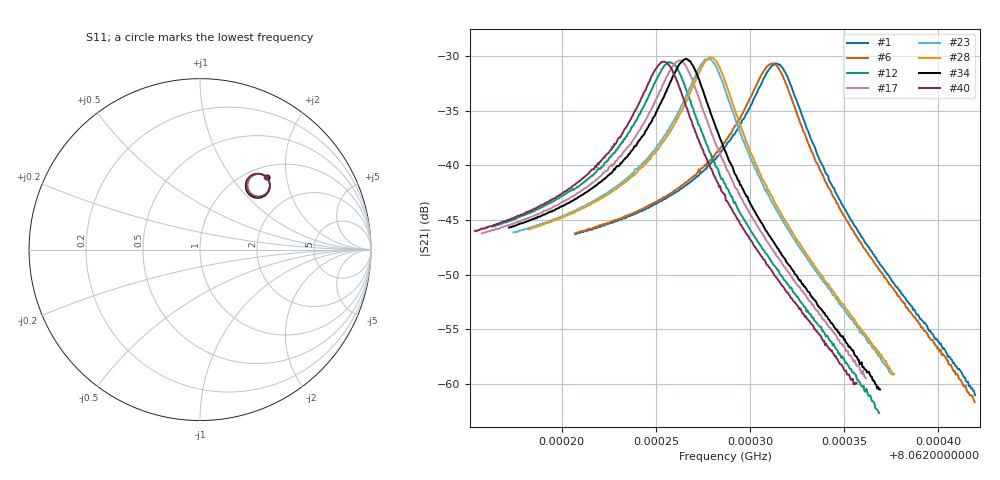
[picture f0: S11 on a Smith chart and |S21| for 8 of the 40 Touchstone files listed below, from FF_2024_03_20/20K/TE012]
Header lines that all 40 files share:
#  HZ  S  RI  R  50.00
! Rohde & Schwarz Vector Network Analyzer
! Rohde-Schwarz,ZNB20-2Port,1311601062101988,3.16
! freq[Hz]  re:S11  im:S11  re:S21  im:S21  re:S12  im:S12  re:S22  im:S22
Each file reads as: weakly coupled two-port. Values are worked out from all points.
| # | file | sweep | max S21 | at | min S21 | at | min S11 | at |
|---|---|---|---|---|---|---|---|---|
| 1 | 0_2_17.0001_20.9476318_0.196_1.804591178894043_.s2p | 8.0622072 GHz to 8.0624195 GHz | -30.64 dB | 8.0623133 GHz | -61.0 dB | 8.0624195 GHz | -7.1 dB | 8.0623149 GHz |
| 2 | 1_2_16.9997_20.9477043_0.03_4.254348039627075_.s2p | 8.0622084 GHz to 8.062418 GHz | -30.65 dB | 8.0623143 GHz | -60.5 dB | 8.0624175 GHz | -7.1 dB | 8.0623148 GHz |
| 3 | 2_2_16.9993_20.9471455_0.015_6.656177520751953_.s2p | 8.062208 GHz to 8.0624185 GHz | -30.67 dB | 8.0623138 GHz | -60.8 dB | 8.062418 GHz | -7.1 dB | 8.0623148 GHz |
| 4 | 3_2_17.0003_20.9473896_0.18_9.068836212158203_.s2p | 8.0622079 GHz to 8.0624187 GHz | -30.66 dB | 8.0623133 GHz | -60.6 dB | 8.0624187 GHz | -7.1 dB | 8.0623149 GHz |
| 5 | 4_2_16.9993_20.9473515_0.211_12.305567264556885_.s2p | 8.0622078 GHz to 8.0624186 GHz | -30.66 dB | 8.0623137 GHz | -60.7 dB | 8.062418 GHz | -7.1 dB | 8.0623148 GHz |
| 6 | 5_2_16.9992_20.9473515_45.429_14.745197057723999_.s2p | 8.0622069 GHz to 8.0624193 GHz | -30.66 dB | 8.0623126 GHz | -61.7 dB | 8.0624193 GHz | -7.1 dB | 8.0623126 GHz |
| 7 | 6_2_17.0023_20.947319_264.329_17.159671306610107_.s2p | 8.0622059 GHz to 8.0624162 GHz | -30.63 dB | 8.0623 GHz | -64.5 dB | 8.0624162 GHz | -7.1 dB | 8.0623011 GHz |
| 8 | 7_2_17.0019_20.947073_532.657_19.621169090270996_.s2p | 8.0621947 GHz to 8.0624039 GHz | -30.62 dB | 8.0622894 GHz | -63.8 dB | 8.0624039 GHz | -7.1 dB | 8.0622899 GHz |
| 9 | 8_2_17.0002_20.9462051_752.197_22.033529043197632_.s2p | 8.0621839 GHz to 8.0623928 GHz | -30.61 dB | 8.06228 GHz | -63.1 dB | 8.0623928 GHz | -7.1 dB | 8.062281 GHz |
| 10 | 9_2_17.0002_20.9464111_1021.189_24.46894359588623_.s2p | 8.0621755 GHz to 8.0623832 GHz | -30.58 dB | 8.0622721 GHz | -62.4 dB | 8.0623822 GHz | -7.1 dB | 8.0622731 GHz |
| 11 | 10_2_16.999_20.9455433_1230.287_26.88232111930847_.s2p | 8.0621673 GHz to 8.0623758 GHz | -30.55 dB | 8.0622664 GHz | -62.3 dB | 8.0623758 GHz | -7.1 dB | 8.0622674 GHz |
| 12 | 11_2_16.9996_20.9440441_2066.424_35.220409870147705_.s2p | 8.062163 GHz to 8.0623685 GHz | -30.53 dB | 8.062257 GHz | -62.7 dB | 8.0623685 GHz | -7.1 dB | 8.0622581 GHz |
| 13 | 12_2_16.9994_20.9406967_2326.0_37.730504274368286_.s2p | 8.0621526 GHz to 8.062359 GHz | -30.48 dB | 8.0622558 GHz | -60.3 dB | 8.062359 GHz | -7.1 dB | 8.0622573 GHz |
| 14 | 13_2_17.0003_20.9390965_2554.524_40.14542031288147_.s2p | 8.0621525 GHz to 8.0623588 GHz | -30.47 dB | 8.0622572 GHz | -60.1 dB | 8.0623583 GHz | -7.2 dB | 8.0622577 GHz |
| 15 | 14_2_16.9994_20.9382229_2813.691_42.57941699028015_.s2p | 8.0621539 GHz to 8.0623588 GHz | -30.43 dB | 8.0622584 GHz | -59.8 dB | 8.0623588 GHz | -7.2 dB | 8.0622589 GHz |
| 16 | 15_2_16.9988_20.9363441_3042.454_45.00513696670532_.s2p | 8.0621562 GHz to 8.0623594 GHz | -30.41 dB | 8.0622603 GHz | -59.6 dB | 8.0623594 GHz | -7.2 dB | 8.0622613 GHz |
| 17 | 16_2_17.0_20.9349174_3281.549_47.43058633804321_.s2p | 8.0621575 GHz to 8.0623616 GHz | -30.39 dB | 8.0622626 GHz | -59.5 dB | 8.0623616 GHz | -7.2 dB | 8.0622631 GHz |
| 18 | 17_2_16.9988_20.9328613_3530.518_49.83860158920288_.s2p | 8.0621602 GHz to 8.0623633 GHz | -30.38 dB | 8.0622648 GHz | -59.4 dB | 8.0623628 GHz | -7.2 dB | 8.0622658 GHz |
| 19 | 18_2_17.001_20.9305649_3779.234_52.24069333076477_.s2p | 8.0621629 GHz to 8.0623657 GHz | -30.34 dB | 8.0622668 GHz | -59.4 dB | 8.0623657 GHz | -7.2 dB | 8.0622683 GHz |
| 20 | 19_2_16.9994_20.9298344_4007.99_54.7120406627655_.s2p | 8.0621665 GHz to 8.0623672 GHz | -30.33 dB | 8.0622704 GHz | -59.1 dB | 8.0623672 GHz | -7.2 dB | 8.0622709 GHz |
| 21 | 20_2_17.0004_20.9271145_4277.092_57.17315888404846_.s2p | 8.0621689 GHz to 8.0623703 GHz | -30.27 dB | 8.0622731 GHz | -59.1 dB | 8.0623703 GHz | -7.2 dB | 8.0622736 GHz |
| 22 | 21_2_16.9996_20.9257584_4516.65_59.585066080093384_.s2p | 8.062172 GHz to 8.0623728 GHz | -30.25 dB | 8.0622759 GHz | -59.1 dB | 8.0623728 GHz | -7.3 dB | 8.0622764 GHz |
| 23 | 22_2_17.0004_20.9236012_4745.891_62.01071286201477_.s2p | 8.0621743 GHz to 8.0623754 GHz | -30.22 dB | 8.0622774 GHz | -59.1 dB | 8.0623754 GHz | -7.3 dB | 8.0622784 GHz |
| 24 | 23_2_16.9987_20.9216194_4985.103_64.42963933944702_.s2p | 8.0621777 GHz to 8.0623765 GHz | -30.17 dB | 8.0622796 GHz | -59.1 dB | 8.0623765 GHz | -7.3 dB | 8.0622801 GHz |
| 25 | 24_2_16.9999_20.9186993_5214.307_66.86513876914978_.s2p | 8.0621805 GHz to 8.0623774 GHz | -30.13 dB | 8.0622804 GHz | -58.9 dB | 8.0623774 GHz | -7.3 dB | 8.0622814 GHz |
| 26 | 25_2_17.0003_20.9163342_5463.618_69.29094862937927_.s2p | 8.062182 GHz to 8.0623781 GHz | -30.14 dB | 8.0622806 GHz | -59.1 dB | 8.0623776 GHz | -7.3 dB | 8.0622815 GHz |
| 27 | 26_2_16.9995_20.9146976_5723.351_71.73542332649231_.s2p | 8.0621816 GHz to 8.0623786 GHz | -30.09 dB | 8.0622801 GHz | -59.5 dB | 8.0623786 GHz | -7.3 dB | 8.0622806 GHz |
| 28 | 27_2_16.9989_20.9110851_5973.307_74.16995906829834_.s2p | 8.0621826 GHz to 8.0623765 GHz | -30.09 dB | 8.0622791 GHz | -59.2 dB | 8.062376 GHz | -7.3 dB | 8.06228 GHz |
| 29 | 28_2_16.9993_20.9090672_6222.541_76.63475799560547_.s2p | 8.0621804 GHz to 8.0623766 GHz | -30.09 dB | 8.0622785 GHz | -59.2 dB | 8.0623756 GHz | -7.3 dB | 8.0622795 GHz |
| 30 | 29_2_16.9992_20.9066029_6462.131_79.04731965065002_.s2p | 8.0621809 GHz to 8.0623754 GHz | -30.13 dB | 8.0622777 GHz | -59.2 dB | 8.0623754 GHz | -7.3 dB | 8.0622782 GHz |
| 31 | 30_2_16.9998_20.9049702_6703.211_81.64981055259705_.s2p | 8.0621796 GHz to 8.062374 GHz | -30.12 dB | 8.0622753 GHz | -59.6 dB | 8.062374 GHz | -7.3 dB | 8.0622763 GHz |
| 32 | 31_2_17.0011_20.902504_6963.553_84.09732246398926_.s2p | 8.0621774 GHz to 8.062372 GHz | -30.17 dB | 8.0622727 GHz | -59.5 dB | 8.062372 GHz | -7.3 dB | 8.0622742 GHz |
| 33 | 32_2_17.0007_20.9010792_7192.967_86.5247232913971_.s2p | 8.0621742 GHz to 8.0623709 GHz | -30.18 dB | 8.0622716 GHz | -59.8 dB | 8.0623709 GHz | -7.3 dB | 8.0622721 GHz |
| 34 | 33_2_17.0012_20.8975048_8023.316_94.69468951225281_.s2p | 8.062172 GHz to 8.062369 GHz | -30.23 dB | 8.0622656 GHz | -60.5 dB | 8.0623686 GHz | -7.3 dB | 8.0622666 GHz |
| 35 | 34_2_17.0015_20.8874779_8273.737_97.11563515663147_.s2p | 8.062163 GHz to 8.0623644 GHz | -30.33 dB | 8.0622632 GHz | -60.3 dB | 8.0623644 GHz | -7.3 dB | 8.0622637 GHz |
| 36 | 35_2_16.9996_20.8837643_8493.808_99.51567006111145_.s2p | 8.0621615 GHz to 8.062363 GHz | -30.36 dB | 8.0622608 GHz | -60.4 dB | 8.062363 GHz | -7.2 dB | 8.0622618 GHz |
| 37 | 36_2_16.9995_20.8810253_8724.135_101.9696397781372_.s2p | 8.062159 GHz to 8.0623619 GHz | -30.40 dB | 8.0622594 GHz | -60.4 dB | 8.0623619 GHz | -7.2 dB | 8.0622599 GHz |
| 38 | 37_2_17.0021_20.8782539_9004.525_104.3828706741333_.s2p | 8.062157 GHz to 8.0623602 GHz | -30.45 dB | 8.0622576 GHz | -60.5 dB | 8.0623597 GHz | -7.2 dB | 8.0622586 GHz |
| 39 | 38_2_16.9983_20.8740959_9244.858_106.85641598701477_.s2p | 8.0621546 GHz to 8.0623591 GHz | -30.44 dB | 8.0622563 GHz | -60.6 dB | 8.0623591 GHz | -7.2 dB | 8.0622569 GHz |
| 40 | 39_2_16.9982_20.8699398_9444.983_109.27256989479065_.s2p | 8.0621539 GHz to 8.0623565 GHz | -30.50 dB | 8.0622542 GHz | -60.1 dB | 8.062355 GHz | -7.2 dB | 8.0622547 GHz |
